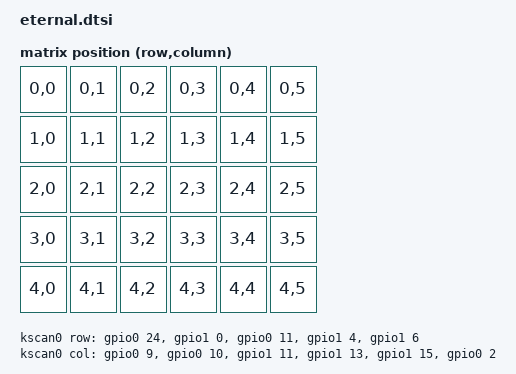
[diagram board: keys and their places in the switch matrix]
/*
 * Copyright (c) 2022 The ZMK Contributors
 *
 * SPDX-License-Identifier: MIT
 */

#include <dt-bindings/zmk/matrix_transform.h>
#include <dt-bindings/pinctrl/nrf-pinctrl.h>
#include <dt-bindings/i2c/i2c.h>

#include <physical_layouts.dtsi>


/ {
  chosen {
    zmk,kscan = &kscan0;
    zmk,matrix-transform = &default_transform;
    zmk,keys 
            = <&key_physical_attrs 100 100    0    0       0     0     0>
            , <&key_physical_attrs 100 100  100    0       0     0     0>
            , <&key_physical_attrs 100 100  200    0       0     0     0>
            , <&key_physical_attrs 100 100  300    0       0     0     0>
            , <&key_physical_attrs 100 100  400    0       0     0     0>
            , <&key_physical_attrs 100 100  500    0       0     0     0>
            , <&key_physical_attrs 100 100    0  100       0     0     0>
            , <&key_physical_attrs 100 100  100  100       0     0     0>
            , <&key_physical_attrs 100 100  200  100       0     0     0>
            , <&key_physical_attrs 100 100  300  100       0     0     0>
            , <&key_physical_attrs 100 100  400  100       0     0     0>
            , <&key_physical_attrs 100 100  500  100       0     0     0>
            , <&key_physical_attrs 100 100    0  200       0     0     0>
            , <&key_physical_attrs 100 100  100  200       0     0     0>
            , <&key_physical_attrs 100 100  200  200       0     0     0>
            , <&key_physical_attrs 100 100  300  200       0     0     0>
            , <&key_physical_attrs 100 100  400  200       0     0     0>
            , <&key_physical_attrs 100 100  500  200       0     0     0>
            , <&key_physical_attrs 100 100    0  300       0     0     0>
            , <&key_physical_attrs 100 100  100  300       0     0     0>
            , <&key_physical_attrs 100 100  200  300       0     0     0>
            , <&key_physical_attrs 100 100  300  300       0     0     0>
            , <&key_physical_attrs 100 100  400  300       0     0     0>
            , <&key_physical_attrs 100 100  500  300       0     0     0>
            , <&key_physical_attrs 100 100    0  400       0     0     0>
            , <&key_physical_attrs 100 100  100  400       0     0     0>
            , <&key_physical_attrs 100 100  200  400       0     0     0>
            , <&key_physical_attrs 100 100  300  400       0     0     0>
            , <&key_physical_attrs 100 100  400  400       0     0     0>
            , <&key_physical_attrs 100 100  500  400       0     0     0>
            ;
    };
  };

  kscan0: kscan {
    compatible = "zmk,kscan-gpio-matrix";
    wakeup-source;

    diode-direction = "col2row";

    row-gpios = <&gpio0 24  (GPIO_ACTIVE_HIGH | GPIO_PULL_DOWN)>,
                <&gpio1 0   (GPIO_ACTIVE_HIGH | GPIO_PULL_DOWN)>,
                <&gpio0 11  (GPIO_ACTIVE_HIGH | GPIO_PULL_DOWN)>,
                <&gpio1 4   (GPIO_ACTIVE_HIGH | GPIO_PULL_DOWN)>,
                <&gpio1 6   (GPIO_ACTIVE_HIGH | GPIO_PULL_DOWN)>;

    col-gpios = <&gpio0 9  GPIO_ACTIVE_HIGH>,
                <&gpio0 10 GPIO_ACTIVE_HIGH>,
                <&gpio1 11 GPIO_ACTIVE_HIGH>,
                <&gpio1 13 GPIO_ACTIVE_HIGH>,
                <&gpio1 15 GPIO_ACTIVE_HIGH>,
                <&gpio0 2  GPIO_ACTIVE_HIGH>;
  };

  default_transform: keymap_transform_0 {
    compatible = "zmk,matrix-transform";
    columns = <6>;
    rows = <5>;
    map = < 
        RC(0,0) RC(0,1) RC(0,2) RC(0,3) RC(0,4) RC(0,5)
        RC(1,0) RC(1,1) RC(1,2) RC(1,3) RC(1,4) RC(1,5)
        RC(2,0) RC(2,1) RC(2,2) RC(2,3) RC(2,4) RC(2,5)
        RC(3,0) RC(3,1) RC(3,2) RC(3,3) RC(3,4) RC(3,5)
        RC(4,0) RC(4,1) RC(4,2) RC(4,3) RC(4,4) RC(4,5)
    >;
  };
};
